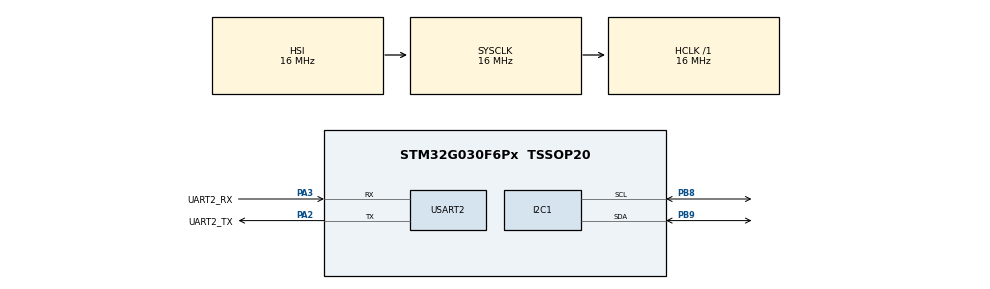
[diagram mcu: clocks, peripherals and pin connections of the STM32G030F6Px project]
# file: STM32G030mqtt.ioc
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Mcu.Family=STM32G0
Mcu.Name=STM32G030F6Px
Mcu.Package=TSSOP20
PA13.Mode=Serial_Wire
PA13.Signal=SYS_SWDIO
PA14-BOOT0.Mode=Serial_Wire
PA14-BOOT0.Signal=SYS_SWCLK
PA2.GPIO_Label=UART2_TX
PA2.Mode=Asynchronous
PA2.Signal=USART2_TX
PA3.GPIO_Label=UART2_RX
PA3.Mode=Asynchronous
PA3.Signal=USART2_RX
PB8.Mode=I2C
PB8.Signal=I2C1_SCL
PB9.Mode=I2C
PB9.Signal=I2C1_SDA
ProjectManager.HeapSize=0x200
ProjectManager.StackSize=0x400
ProjectManager.TargetToolchain=STM32CubeIDE
RCC.AHBFreq_Value=16000000
RCC.CortexFreq_Value=16000000
RCC.EXTERNAL_CLOCK_VALUE=12288000
RCC.HCLKFreq_Value=16000000
RCC.HSE_VALUE=8000000
RCC.HSI_VALUE=16000000
RCC.LSE_VALUE=32768
RCC.SYSCLKFreq_VALUE=16000000
RCC.VCOOutputFreq_Value=128000000
USART2.VirtualMode-Asynchronous=VM_ASYNC
board=custom

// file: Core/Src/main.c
/* USER CODE BEGIN Header */
/**
 ******************************************************************************
 * @file           : main.c
 * @brief          : Main program body
 ******************************************************************************
 * @attention
 *
 * <h2><center>&copy; Copyright (c) 2022 STMicroelectronics.
 * All rights reserved.</center></h2>
 *
 * This software component is licensed by ST under BSD 3-Clause license,
 * the "License"; You may not use this file except in compliance with the
 * License. You may obtain a copy of the License at:
 *                        opensource.org/licenses/BSD-3-Clause
 *
 ******************************************************************************
 */
/* USER CODE END Header */
#include "main.h"

/* USER CODE BEGIN Includes */
#include <stdio.h>
#include "bmp180_for_stm32_hal.h"
#include "pr.h"
/* USER CODE END Includes */

/* USER CODE BEGIN PD */
#define TX_BUFF_LEN 32
#define RX_BUFF_LEN 32
#define MAIN_DELAY  5000
#define TIMEOUT     1000
/* USER CODE END PD */

I2C_HandleTypeDef hi2c1;

UART_HandleTypeDef huart2;

/* USER CODE BEGIN PV */
uint8_t tx_buff[TX_BUFF_LEN];
uint8_t rx_buff[RX_BUFF_LEN];
pr__data_t pr_data;
int32_t temperature;
int32_t pressure;
/* USER CODE END PV */

void SystemClock_Config(void);
static void MX_GPIO_Init(void);
static void MX_USART2_UART_Init(void);
static void MX_I2C1_Init(void);

int main(void) {

	/* MCU Configuration--------------------------------------------------------*/

	/* Reset of all peripherals, Initializes the Flash interface and the Systick. */
	HAL_Init();

	/* Configure the system clock */
	SystemClock_Config();

	/* Initialize all configured peripherals */
	MX_GPIO_Init();
	MX_USART2_UART_Init();
	MX_I2C1_Init();
	/* USER CODE BEGIN 2 */
	BMP180_Init(&hi2c1);
	BMP180_SetOversampling(BMP180_ULTRA);
	BMP180_UpdateCalibrationData();
	/* USER CODE END 2 */

	/* Infinite loop */
	/* USER CODE BEGIN WHILE */
	while (1) {
		pr_data.temperature = BMP180_GetRawTemperature();
		pr_data.pressure = BMP180_GetPressure();
		pr__make_msg((char*) tx_buff, PR__CMD_DATA, &pr_data);
		HAL_UART_Transmit(&huart2, tx_buff, TX_BUFF_LEN, TIMEOUT);
		HAL_Delay(MAIN_DELAY);

		/* USER CODE END WHILE */
	}
}

void SystemClock_Config(void) {
	RCC_OscInitTypeDef RCC_OscInitStruct = { 0 };
	RCC_ClkInitTypeDef RCC_ClkInitStruct = { 0 };
	RCC_PeriphCLKInitTypeDef PeriphClkInit = { 0 };

	/** Configure the main internal regulator output voltage
	 */
	HAL_PWREx_ControlVoltageScaling(PWR_REGULATOR_VOLTAGE_SCALE1);
	/** Initializes the RCC Oscillators according to the specified parameters
	 * in the RCC_OscInitTypeDef structure.
	 */
	RCC_OscInitStruct.OscillatorType = RCC_OSCILLATORTYPE_HSI;
	RCC_OscInitStruct.HSIState = RCC_HSI_ON;
	RCC_OscInitStruct.HSIDiv = RCC_HSI_DIV1;
	RCC_OscInitStruct.HSICalibrationValue = RCC_HSICALIBRATION_DEFAULT;
	RCC_OscInitStruct.PLL.PLLState = RCC_PLL_NONE;
	if (HAL_RCC_OscConfig(&RCC_OscInitStruct) != HAL_OK) {
		Error_Handler();
	}
	/** Initializes the CPU, AHB and APB buses clocks
	 */
	RCC_ClkInitStruct.ClockType = RCC_CLOCKTYPE_HCLK | RCC_CLOCKTYPE_SYSCLK
			| RCC_CLOCKTYPE_PCLK1;
	RCC_ClkInitStruct.SYSCLKSource = RCC_SYSCLKSOURCE_HSI;
	RCC_ClkInitStruct.AHBCLKDivider = RCC_SYSCLK_DIV1;
	RCC_ClkInitStruct.APB1CLKDivider = RCC_HCLK_DIV1;

	if (HAL_RCC_ClockConfig(&RCC_ClkInitStruct, FLASH_LATENCY_0) != HAL_OK) {
		Error_Handler();
	}
	/** Initializes the peripherals clocks
	 */
	PeriphClkInit.PeriphClockSelection = RCC_PERIPHCLK_I2C1;
	PeriphClkInit.I2c1ClockSelection = RCC_I2C1CLKSOURCE_PCLK1;
	if (HAL_RCCEx_PeriphCLKConfig(&PeriphClkInit) != HAL_OK) {
		Error_Handler();
	}
}

static void MX_I2C1_Init(void) {

	hi2c1.Instance = I2C1;
	hi2c1.Init.Timing = 0x00303D5B;
	hi2c1.Init.OwnAddress1 = 0;
	hi2c1.Init.AddressingMode = I2C_ADDRESSINGMODE_7BIT;
	hi2c1.Init.DualAddressMode = I2C_DUALADDRESS_DISABLE;
	hi2c1.Init.OwnAddress2 = 0;
	hi2c1.Init.OwnAddress2Masks = I2C_OA2_NOMASK;
	hi2c1.Init.GeneralCallMode = I2C_GENERALCALL_DISABLE;
	hi2c1.Init.NoStretchMode = I2C_NOSTRETCH_DISABLE;
	if (HAL_I2C_Init(&hi2c1) != HAL_OK) {
		Error_Handler();
	}
	/** Configure Analogue filter
	 */
	if (HAL_I2CEx_ConfigAnalogFilter(&hi2c1, I2C_ANALOGFILTER_ENABLE)
			!= HAL_OK) {
		Error_Handler();
	}
	/** Configure Digital filter
	 */
	if (HAL_I2CEx_ConfigDigitalFilter(&hi2c1, 0) != HAL_OK) {
		Error_Handler();
	}

}

static void MX_USART2_UART_Init(void) {

	huart2.Instance = USART2;
	huart2.Init.BaudRate = 115200;
	huart2.Init.WordLength = UART_WORDLENGTH_8B;
	huart2.Init.StopBits = UART_STOPBITS_1;
	huart2.Init.Parity = UART_PARITY_NONE;
	huart2.Init.Mode = UART_MODE_TX_RX;
	huart2.Init.HwFlowCtl = UART_HWCONTROL_NONE;
	huart2.Init.OverSampling = UART_OVERSAMPLING_16;
	huart2.Init.OneBitSampling = UART_ONE_BIT_SAMPLE_DISABLE;
	huart2.Init.ClockPrescaler = UART_PRESCALER_DIV1;
	huart2.AdvancedInit.AdvFeatureInit = UART_ADVFEATURE_NO_INIT;
	if (HAL_UART_Init(&huart2) != HAL_OK) {
		Error_Handler();
	}

}

static void MX_GPIO_Init(void) {

	/* GPIO Ports Clock Enable */
	__HAL_RCC_GPIOB_CLK_ENABLE();
	__HAL_RCC_GPIOA_CLK_ENABLE();

}

void Error_Handler(void) {
	__disable_irq();
	while (1) {
	}
}

/************************ (C) COPYRIGHT STMicroelectronics *****END OF FILE****/
